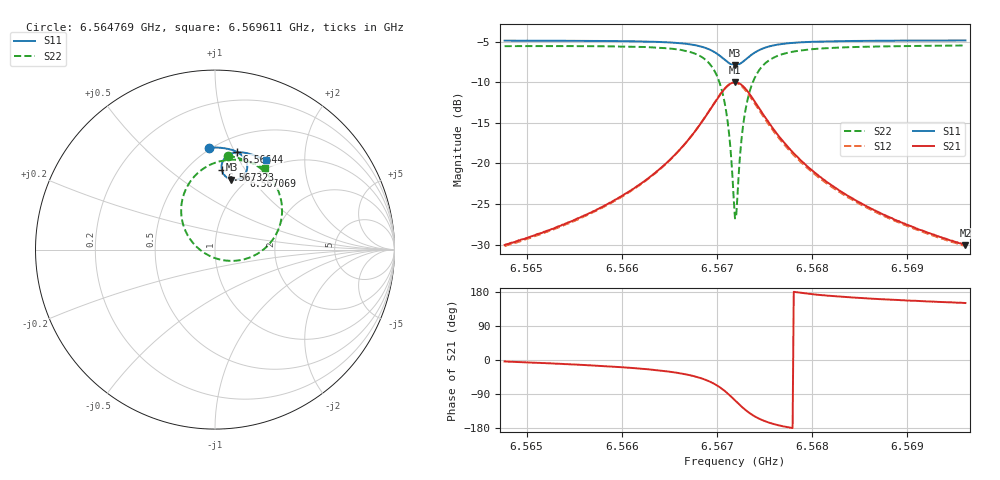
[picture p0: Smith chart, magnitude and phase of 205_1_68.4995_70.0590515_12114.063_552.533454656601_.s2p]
#  HZ  S  RI  R  50.00
! Rohde & Schwarz Vector Network Analyzer
! Rohde-Schwarz,ZNB20-2Port,1311601062101988,3.16
! Created: UTC 3/20/2024, 5:12:54 PM
! freq[Hz]  re:S11  im:S11  re:S21  im:S21  re:S12  im:S12  re:S22  im:S22
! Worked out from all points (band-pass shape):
!   401 points, 6.564769 GHz to 6.569611 GHz, reference 50 ohm
!   highest |S21| = -10.01 dB at 6.56719 GHz (marker M1); lowest = -30.1 dB at 6.569611 GHz (marker M2)
!   |S21| within 3 dB of the highest: 6.56695 GHz to 6.567432 GHz (482.4 kHz wide, 0.00735 % of centre)
!   lowest |S11| = -7.9 dB at 6.56719 GHz (marker M3), VSWR 2.34, Z = 42.9 + j39.9 ohm
!   |S11| at or under -10 dB: nowhere
!   |S22| runs from -26.8 to -5.5 dB; largest |S21 - S12| = 0.016
!   S11 on the Smith chart (normalised r, x): 6.564769 GHz: 0.49, +0.82; 6.56644 GHz: 0.65, +1.02; 6.567069 GHz: 0.92, +0.94; 6.567323 GHz: 0.71, +0.79; 6.569611 GHz: 0.88, +1.30
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6.5647694e9  -0.0308 0.5683  0.0313 -0.00212  0.0308 -0.00253  0.0712 0.5217
6.5655803e9  0.0373 0.5664  0.0459 -0.0105  0.045 -0.011  0.1529 0.5039
6.5660402e9  0.0801 0.5592  0.0613 -0.0221  0.0602 -0.0227  0.2125 0.4787
6.5663912e9  0.1175 0.5463  0.0812 -0.0421  0.0799 -0.0431  0.2731 0.4371
6.5664396e9  0.1232 0.5436  0.0848 -0.0466  0.0836 -0.0477  0.283 0.4279
6.5666938e9  0.1553 0.5199  0.1075 -0.0868  0.1059 -0.0886  0.342 0.3493
6.5668753e9  0.1767 0.4832  0.1187 -0.151  0.1156 -0.1543  0.3737 0.2257
6.5669842e9  0.1781 0.4457  0.1026 -0.217  0.0967 -0.2213  0.3476 0.0999
6.5670689e9  0.1595 0.4106  0.0534 -0.2768  0.0429 -0.2801  0.2555 -0.0108
6.5671174e9  0.137 0.3947  0.00384 -0.3019  -0.00941 -0.3024  0.1629 -0.0539
6.5671416e9  0.1228 0.39  -0.026 -0.3082  -0.0403 -0.3065  0.1079 -0.0626
6.5671779e9  0.0995 0.3889  -0.0739 -0.3064  -0.0882 -0.3009  0.0223 -0.0542
6.56719e9  0.0918 0.3903  -0.0897 -0.3027  -0.1037 -0.2958  -0.00569 -0.0454
6.5672021e9  0.0842 0.3923  -0.105 -0.2972  -0.1186 -0.2891  -0.0323 -0.0338
6.5672142e9  0.077 0.3955  -0.1197 -0.2906  -0.1326 -0.2813  -0.0573 -0.0198
6.5672626e9  0.053 0.4141  -0.1683 -0.2515  -0.1772 -0.2389  -0.1373 0.0559
6.5673231e9  0.0381 0.4446  -0.2007 -0.191  -0.204 -0.1778  -0.1838 0.1665
6.5674199e9  0.0415 0.4876  -0.2023 -0.1079  -0.2005 -0.0978  -0.1727 0.3115
6.5675652e9  0.0691 0.5229  -0.1668 -0.0394  -0.1632 -0.0337  -0.0959 0.4266
6.5680009e9  0.1398 0.5422  -0.0898 0.00983  -0.0876 0.0113  0.0701 0.4994
6.5688118e9  0.2204 0.5245  -0.0436 0.0164  -0.0426 0.0167  0.2028 0.4847
6.5696106e9  0.2814 0.4965  -0.0273 0.0155  -0.0268 0.0157  0.2788 0.4524
